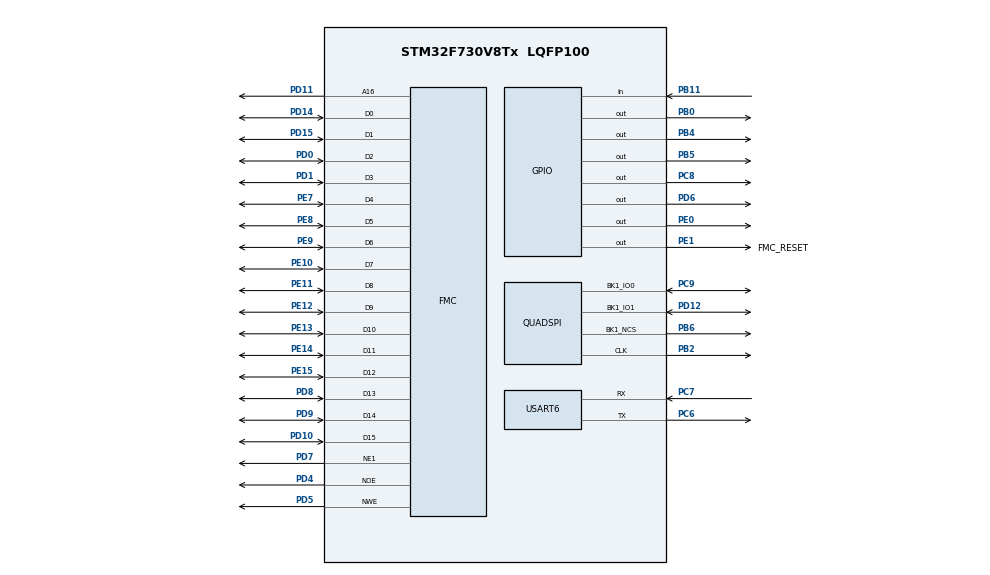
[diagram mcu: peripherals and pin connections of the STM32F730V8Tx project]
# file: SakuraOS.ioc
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Mcu.Family=STM32F7
Mcu.Name=STM32F730V8Tx
Mcu.Package=LQFP100
NVIC.PriorityGroup=NVIC_PRIORITYGROUP_4
PB0.Signal=GPIO_Output
PB11.Signal=GPIO_Input
PB2.Mode=Single Bank 1 2IOs
PB2.Signal=QUADSPI_CLK
PB4.Signal=GPIO_Output
PB5.Signal=GPIO_Output
PB6.Mode=Single Bank 1 2IOs
PB6.Signal=QUADSPI_BK1_NCS
PC6.Mode=Asynchronous
PC6.Signal=USART6_TX
PC7.Mode=Asynchronous
PC7.Signal=USART6_RX
PC8.Signal=GPIO_Output
PC9.Mode=Single Bank 1 2IOs
PC9.Signal=QUADSPI_BK1_IO0
PD0.Mode=16b-d1
PD0.Signal=FMC_D2
PD1.Mode=16b-d1
PD1.Signal=FMC_D3
PD10.Mode=16b-d1
PD10.Signal=FMC_D15
PD11.Mode=A16_1
PD11.Signal=FMC_A16
PD12.Mode=Single Bank 1 2IOs
PD12.Signal=QUADSPI_BK1_IO1
PD13.Signal=QUADSPI_BK1_IO3
PD14.Mode=16b-d1
PD14.Signal=FMC_D0
PD15.Mode=16b-d1
PD15.Signal=FMC_D1
PD4.Mode=Lcd1
PD4.Signal=FMC_NOE
PD5.Mode=Lcd1
PD5.Signal=FMC_NWE
PD6.Signal=GPIO_Output
PD7.Mode=NorPsramChipSelect1_1
PD7.Signal=FMC_NE1
PD8.Mode=16b-d1
PD8.Signal=FMC_D13
PD9.Mode=16b-d1
PD9.Signal=FMC_D14
PE0.Signal=GPIO_Output
PE1.GPIO_Label=FMC_RESET
PE1.Signal=GPIO_Output
PE10.Mode=16b-d1
PE10.Signal=FMC_D7
PE11.Mode=16b-d1
PE11.Signal=FMC_D8
PE12.Mode=16b-d1
PE12.Signal=FMC_D9
PE13.Mode=16b-d1
PE13.Signal=FMC_D10
PE14.Mode=16b-d1
PE14.Signal=FMC_D11
PE15.Mode=16b-d1
PE15.Signal=FMC_D12
PE2.Signal=QUADSPI_BK1_IO2
PE7.Mode=16b-d1
PE7.Signal=FMC_D4
PE8.Mode=16b-d1
PE8.Signal=FMC_D5
PE9.Mode=16b-d1
PE9.Signal=FMC_D6
ProjectManager.HeapSize=0x200
ProjectManager.StackSize=0x400
ProjectManager.TargetToolchain=STM32CubeIDE
RCC.HSE_VALUE=25000000
RCC.HSI_VALUE=16000000
RCC.LSE_VALUE=32768
RCC.USBFreq_Value=96000000
RCC.VCOOutputFreq_Value=192000000
USART6.VirtualMode=VM_ASYNC
board=custom

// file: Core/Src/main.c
/* USER CODE BEGIN Header */
/**
  ******************************************************************************
  * @file           : main.c
  * @brief          : Main program body
  ******************************************************************************
  * @attention
  *
  * Copyright (c) 2022 STMicroelectronics.
  * All rights reserved.
  *
  * This software is licensed under terms that can be found in the LICENSE file
  * in the root directory of this software component.
  * If no LICENSE file comes with this software, it is provided AS-IS.
  *
  ******************************************************************************
  */
/* USER CODE END Header */
#include "main.h"

/* USER CODE BEGIN Includes */
#include "ST7789V.h"
#include "led.h"
/* USER CODE END Includes */

QSPI_HandleTypeDef hqspi;

UART_HandleTypeDef huart6;

SRAM_HandleTypeDef hsram1;

void SystemClock_Config(void);
static void MX_GPIO_Init(void);
static void MX_FMC_Init(void);
static void MX_QUADSPI_Init(void);
static void MX_USART6_UART_Init(void);

int main(void)
{

  /* MCU Configuration--------------------------------------------------------*/

  /* Reset of all peripherals, Initializes the Flash interface and the Systick. */
  HAL_Init();

  /* Configure the system clock */
  SystemClock_Config();

  /* Initialize all configured peripherals */
  MX_GPIO_Init();
  MX_FMC_Init();
  MX_QUADSPI_Init();
  MX_USART6_UART_Init();

  /* Infinite loop */
  /* USER CODE BEGIN WHILE */
  ST7789V_enableBacklight();

  ST7789V_init_v2();
  HAL_GPIO_WritePin(GPIOB, GPIO_PIN_5, 1);
  HAL_Delay(500);
  HAL_GPIO_WritePin(GPIOB, GPIO_PIN_5, 0);
  HAL_Delay(2000);
  //ST7789V_SEND_COMMAND(ST7789V_RAMWR);
  ST7789V_fill(COLOR_RED);
  HAL_Delay(10000);
  HAL_GPIO_WritePin(GPIOB, GPIO_PIN_4, 1);
  HAL_Delay(500);
  HAL_GPIO_WritePin(GPIOB, GPIO_PIN_4, 0);
  while (1)
  {
    /* USER CODE END WHILE */

    /* USER CODE BEGIN 3 */
	  HAL_GPIO_WritePin(GPIOB, GPIO_PIN_0, GPIO_PIN_SET);
	  HAL_Delay(500);
	  HAL_GPIO_WritePin(GPIOB, GPIO_PIN_0, GPIO_PIN_RESET);
	  HAL_Delay(1500);
  }
  /* USER CODE END 3 */
}

void SystemClock_Config(void)
{
  RCC_OscInitTypeDef RCC_OscInitStruct = {0};
  RCC_ClkInitTypeDef RCC_ClkInitStruct = {0};

  /** Configure the main internal regulator output voltage
  */
  __HAL_RCC_PWR_CLK_ENABLE();
  __HAL_PWR_VOLTAGESCALING_CONFIG(PWR_REGULATOR_VOLTAGE_SCALE3);

  /** Initializes the RCC Oscillators according to the specified parameters
  * in the RCC_OscInitTypeDef structure.
  */
  RCC_OscInitStruct.OscillatorType = RCC_OSCILLATORTYPE_HSI;
  RCC_OscInitStruct.HSIState = RCC_HSI_ON;
  RCC_OscInitStruct.HSICalibrationValue = RCC_HSICALIBRATION_DEFAULT;
  RCC_OscInitStruct.PLL.PLLState = RCC_PLL_NONE;
  if (HAL_RCC_OscConfig(&RCC_OscInitStruct) != HAL_OK)
  {
    Error_Handler();
  }

  /** Initializes the CPU, AHB and APB buses clocks
  */
  RCC_ClkInitStruct.ClockType = RCC_CLOCKTYPE_HCLK|RCC_CLOCKTYPE_SYSCLK
                              |RCC_CLOCKTYPE_PCLK1|RCC_CLOCKTYPE_PCLK2;
  RCC_ClkInitStruct.SYSCLKSource = RCC_SYSCLKSOURCE_HSI;
  RCC_ClkInitStruct.AHBCLKDivider = RCC_SYSCLK_DIV1;
  RCC_ClkInitStruct.APB1CLKDivider = RCC_HCLK_DIV1;
  RCC_ClkInitStruct.APB2CLKDivider = RCC_HCLK_DIV1;

  if (HAL_RCC_ClockConfig(&RCC_ClkInitStruct, FLASH_LATENCY_0) != HAL_OK)
  {
    Error_Handler();
  }
}

static void MX_QUADSPI_Init(void)
{

  /* QUADSPI parameter configuration*/
  hqspi.Instance = QUADSPI;
  hqspi.Init.ClockPrescaler = 255;
  hqspi.Init.FifoThreshold = 1;
  hqspi.Init.SampleShifting = QSPI_SAMPLE_SHIFTING_NONE;
  hqspi.Init.FlashSize = 1;
  hqspi.Init.ChipSelectHighTime = QSPI_CS_HIGH_TIME_1_CYCLE;
  hqspi.Init.ClockMode = QSPI_CLOCK_MODE_0;
  hqspi.Init.FlashID = QSPI_FLASH_ID_1;
  hqspi.Init.DualFlash = QSPI_DUALFLASH_DISABLE;
  if (HAL_QSPI_Init(&hqspi) != HAL_OK)
  {
    Error_Handler();
  }

}

static void MX_USART6_UART_Init(void)
{

  huart6.Instance = USART6;
  huart6.Init.BaudRate = 115200;
  huart6.Init.WordLength = UART_WORDLENGTH_8B;
  huart6.Init.StopBits = UART_STOPBITS_1;
  huart6.Init.Parity = UART_PARITY_NONE;
  huart6.Init.Mode = UART_MODE_TX_RX;
  huart6.Init.HwFlowCtl = UART_HWCONTROL_NONE;
  huart6.Init.OverSampling = UART_OVERSAMPLING_16;
  huart6.Init.OneBitSampling = UART_ONE_BIT_SAMPLE_DISABLE;
  huart6.AdvancedInit.AdvFeatureInit = UART_ADVFEATURE_NO_INIT;
  if (HAL_UART_Init(&huart6) != HAL_OK)
  {
    Error_Handler();
  }

}

/* FMC initialization function */
static void MX_FMC_Init(void)
{

  FMC_NORSRAM_TimingTypeDef Timing = {0};

  /** Perform the SRAM1 memory initialization sequence
  */
  hsram1.Instance = FMC_NORSRAM_DEVICE;
  hsram1.Extended = FMC_NORSRAM_EXTENDED_DEVICE;
  /* hsram1.Init */
  hsram1.Init.NSBank = FMC_NORSRAM_BANK1;
  hsram1.Init.DataAddressMux = FMC_DATA_ADDRESS_MUX_DISABLE;
  hsram1.Init.MemoryType = FMC_MEMORY_TYPE_SRAM;
  hsram1.Init.MemoryDataWidth = FMC_NORSRAM_MEM_BUS_WIDTH_16;
  hsram1.Init.BurstAccessMode = FMC_BURST_ACCESS_MODE_DISABLE;
  hsram1.Init.WaitSignalPolarity = FMC_WAIT_SIGNAL_POLARITY_LOW;
  hsram1.Init.WaitSignalActive = FMC_WAIT_TIMING_BEFORE_WS;
  hsram1.Init.WriteOperation = FMC_WRITE_OPERATION_ENABLE;
  hsram1.Init.WaitSignal = FMC_WAIT_SIGNAL_DISABLE;
  hsram1.Init.ExtendedMode = FMC_EXTENDED_MODE_DISABLE;
  hsram1.Init.AsynchronousWait = FMC_ASYNCHRONOUS_WAIT_DISABLE;
  hsram1.Init.WriteBurst = FMC_WRITE_BURST_DISABLE;
  hsram1.Init.ContinuousClock = FMC_CONTINUOUS_CLOCK_SYNC_ONLY;
  hsram1.Init.WriteFifo = FMC_WRITE_FIFO_ENABLE;
  hsram1.Init.PageSize = FMC_PAGE_SIZE_NONE;
  /* Timing */
  Timing.AddressSetupTime = 15;
  Timing.AddressHoldTime = 15;
  Timing.DataSetupTime = 255;
  Timing.BusTurnAroundDuration = 15;
  Timing.CLKDivision = 16;
  Timing.DataLatency = 17;
  Timing.AccessMode = FMC_ACCESS_MODE_A;
  /* ExtTiming */

  if (HAL_SRAM_Init(&hsram1, &Timing, NULL) != HAL_OK)
  {
    Error_Handler( );
  }

}

static void MX_GPIO_Init(void)
{
  GPIO_InitTypeDef GPIO_InitStruct = {0};

  /* GPIO Ports Clock Enable */
  __HAL_RCC_GPIOE_CLK_ENABLE();
  __HAL_RCC_GPIOB_CLK_ENABLE();
  __HAL_RCC_GPIOD_CLK_ENABLE();
  __HAL_RCC_GPIOC_CLK_ENABLE();

  /*Configure GPIO pin Output Level */
  HAL_GPIO_WritePin(GPIOB, GPIO_PIN_0|GPIO_PIN_4|GPIO_PIN_5, GPIO_PIN_RESET);

  /*Configure GPIO pin Output Level */
  HAL_GPIO_WritePin(GPIOC, GPIO_PIN_8, GPIO_PIN_RESET);

  /*Configure GPIO pin Output Level */
  HAL_GPIO_WritePin(GPIOD, GPIO_PIN_6, GPIO_PIN_RESET);

  /*Configure GPIO pin Output Level */
  HAL_GPIO_WritePin(GPIOE, GPIO_PIN_0|FMC_RESET_Pin, GPIO_PIN_RESET);

  /*Configure GPIO pins : PB0 PB4 PB5 */
  GPIO_InitStruct.Pin = GPIO_PIN_0|GPIO_PIN_4|GPIO_PIN_5;
  GPIO_InitStruct.Mode = GPIO_MODE_OUTPUT_PP;
  GPIO_InitStruct.Pull = GPIO_NOPULL;
  GPIO_InitStruct.Speed = GPIO_SPEED_FREQ_LOW;
  HAL_GPIO_Init(GPIOB, &GPIO_InitStruct);

  /*Configure GPIO pin : PB11 */
  GPIO_InitStruct.Pin = GPIO_PIN_11;
  GPIO_InitStruct.Mode = GPIO_MODE_INPUT;
  GPIO_InitStruct.Pull = GPIO_NOPULL;
  HAL_GPIO_Init(GPIOB, &GPIO_InitStruct);

  /*Configure GPIO pin : PC8 */
  GPIO_InitStruct.Pin = GPIO_PIN_8;
  GPIO_InitStruct.Mode = GPIO_MODE_OUTPUT_PP;
  GPIO_InitStruct.Pull = GPIO_NOPULL;
  GPIO_InitStruct.Speed = GPIO_SPEED_FREQ_LOW;
  HAL_GPIO_Init(GPIOC, &GPIO_InitStruct);

  /*Configure GPIO pin : PD6 */
  GPIO_InitStruct.Pin = GPIO_PIN_6;
  GPIO_InitStruct.Mode = GPIO_MODE_OUTPUT_PP;
  GPIO_InitStruct.Pull = GPIO_NOPULL;
  GPIO_InitStruct.Speed = GPIO_SPEED_FREQ_LOW;
  HAL_GPIO_Init(GPIOD, &GPIO_InitStruct);

  /*Configure GPIO pins : PE0 FMC_RESET_Pin */
  GPIO_InitStruct.Pin = GPIO_PIN_0|FMC_RESET_Pin;
  GPIO_InitStruct.Mode = GPIO_MODE_OUTPUT_PP;
  GPIO_InitStruct.Pull = GPIO_NOPULL;
  GPIO_InitStruct.Speed = GPIO_SPEED_FREQ_LOW;
  HAL_GPIO_Init(GPIOE, &GPIO_InitStruct);

}

void Error_Handler(void)
{
  __disable_irq();
  while (1)
  {
  }
}
